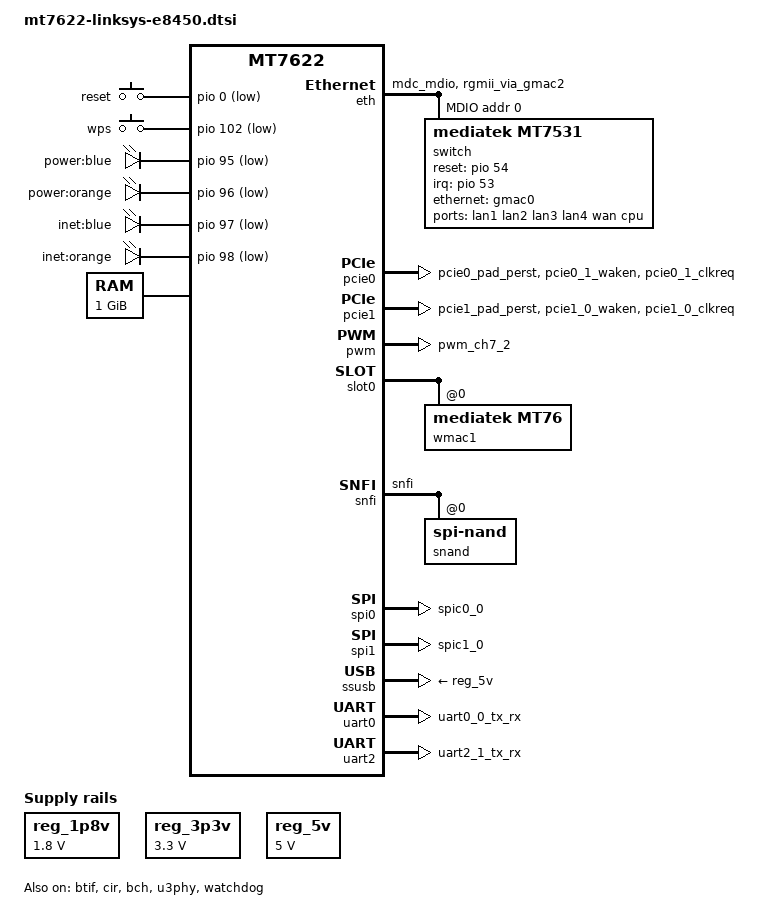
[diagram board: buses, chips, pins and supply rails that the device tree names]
// SPDX-License-Identifier: (GPL-2.0-only OR MIT)

/dts-v1/;
#include <dt-bindings/input/input.h>
#include <dt-bindings/gpio/gpio.h>

#include "mt7622.dtsi"
#include "mt6380.dtsi"

/ {
	compatible = "linksys,e8450", "mediatek,mt7622";

	aliases {
		serial0 = &uart0;
		led-boot = &led_power;
		led-failsafe = &led_power;
		led-running = &led_power;
		led-upgrade = &led_power;
	};

	chosen {
		stdout-path = "serial0:115200n8";
		bootargs = "earlycon=uart8250,mmio32,0x11002000 console=ttyS0,115200n1 swiotlb=512";
	};

	cpus {
		cpu@0 {
			proc-supply = <&mt6380_vcpu_reg>;
			sram-supply = <&mt6380_vm_reg>;
		};

		cpu@1 {
			proc-supply = <&mt6380_vcpu_reg>;
			sram-supply = <&mt6380_vm_reg>;
		};
	};

	gpio-keys {
		compatible = "gpio-keys";

		factory {
			label = "reset";
			linux,code = <KEY_RESTART>;
			gpios = <&pio 0 GPIO_ACTIVE_LOW>;
		};

		wps {
			label = "wps";
			linux,code = <KEY_WPS_BUTTON>;
			gpios = <&pio 102 GPIO_ACTIVE_LOW>;
		};
	};

	gpio-leds {
		compatible = "gpio-leds";

		led_power: power_blue {
			label = "power:blue";
			gpios = <&pio 95 GPIO_ACTIVE_LOW>;
			default-state = "on";
		};

		power_orange {
			label = "power:orange";
			gpios = <&pio 96 GPIO_ACTIVE_LOW>;
			default-state = "off";
		};

		inet_blue {
			label = "inet:blue";
			gpios = <&pio 97 GPIO_ACTIVE_LOW>;
			default-state = "off";
		};

		inet_orange {
			label = "inet:orange";
			gpios = <&pio 98 GPIO_ACTIVE_LOW>;
			default-state = "off";
		};
	};

	memory {
		reg = <0 0x40000000 0 0x40000000>;
	};

	reg_1p8v: regulator-1p8v {
		compatible = "regulator-fixed";
		regulator-name = "fixed-1.8V";
		regulator-min-microvolt = <1800000>;
		regulator-max-microvolt = <1800000>;
		regulator-always-on;
	};

	reg_3p3v: regulator-3p3v {
		compatible = "regulator-fixed";
		regulator-name = "fixed-3.3V";
		regulator-min-microvolt = <3300000>;
		regulator-max-microvolt = <3300000>;
		regulator-boot-on;
		regulator-always-on;
	};

	reg_5v: regulator-5v {
		compatible = "regulator-fixed";
		regulator-name = "fixed-5V";
		regulator-min-microvolt = <5000000>;
		regulator-max-microvolt = <5000000>;
		regulator-boot-on;
		regulator-always-on;
	};
};

&btif {
	status = "okay";
};

&cir {
	pinctrl-names = "default";
	pinctrl-0 = <&irrx_pins>;
	status = "okay";
};

&eth {
	pinctrl-names = "default";
	pinctrl-0 = <&eth_pins>;
	status = "okay";

	gmac0: mac@0 {
		compatible = "mediatek,eth-mac";
		reg = <0>;
		phy-mode = "2500base-x";

		fixed-link {
			speed = <2500>;
			full-duplex;
			pause;
		};
	};

	mdio-bus {
		#address-cells = <1>;
		#size-cells = <0>;

		switch@0 {
			compatible = "mediatek,mt7531";
			reg = <0>;
			interrupt-controller;
			#interrupt-cells = <1>;
			interrupt-parent = <&pio>;
			interrupts = <53 IRQ_TYPE_LEVEL_HIGH>;
			reset-gpios = <&pio 54 0>;

			ports {
				#address-cells = <1>;
				#size-cells = <0>;

				port@0 {
					reg = <0>;
					label = "lan1";
				};

				port@1 {
					reg = <1>;
					label = "lan2";
				};

				port@2 {
					reg = <2>;
					label = "lan3";
				};

				port@3 {
					reg = <3>;
					label = "lan4";
				};

				wan: port@4 {
					reg = <4>;
					label = "wan";
				};

				port@6 {
					reg = <6>;
					label = "cpu";
					ethernet = <&gmac0>;
					phy-mode = "2500base-x";

					fixed-link {
						speed = <2500>;
						full-duplex;
						pause;
					};
				};
			};
		};

	};
};

&pcie0 {
	pinctrl-names = "default";
	pinctrl-0 = <&pcie0_pins>;
	status = "okay";
};

&pcie1 {
	pinctrl-names = "default";
	pinctrl-0 = <&pcie1_pins>;
	status = "okay";
};

&pio {
	eth_pins: eth-pins {
		mux {
			function = "eth";
			groups = "mdc_mdio", "rgmii_via_gmac2";
		};
	};

	irrx_pins: irrx-pins {
		mux {
			function = "ir";
			groups =  "ir_1_rx";
		};
	};

	irtx_pins: irtx-pins {
		mux {
			function = "ir";
			groups =  "ir_1_tx";
		};
	};

	pcie0_pins: pcie0-pins {
		mux {
			function = "pcie";
			groups = "pcie0_pad_perst",
				 "pcie0_1_waken",
				 "pcie0_1_clkreq";
		};
	};

	pcie1_pins: pcie1-pins {
		mux {
			function = "pcie";
			groups = "pcie1_pad_perst",
				 "pcie1_0_waken",
				 "pcie1_0_clkreq";
		};
	};

	pmic_bus_pins: pmic-bus-pins {
		mux {
			function = "pmic";
			groups = "pmic_bus";
		};
	};

	pwm7_pins: pwm1-2-pins {
		mux {
			function = "pwm";
			groups = "pwm_ch7_2";
		};
	};

	wled_pins: wled-pins {
		mux {
			function = "led";
			groups = "wled";
		};
	};

	/* Serial NAND is shared pin with SPI-NOR */
	serial_nand_pins: serial-nand-pins {
		mux {
			function = "flash";
			groups = "snfi";
		};
	};

	spic0_pins: spic0-pins {
		mux {
			function = "spi";
			groups = "spic0_0";
		};
	};

	spic1_pins: spic1-pins {
		mux {
			function = "spi";
			groups = "spic1_0";
		};
	};

	uart0_pins: uart0-pins {
		mux {
			function = "uart";
			groups = "uart0_0_tx_rx" ;
		};
	};

	uart2_pins: uart2-pins {
		mux {
			function = "uart";
			groups = "uart2_1_tx_rx" ;
		};
	};

	watchdog_pins: watchdog-pins {
		mux {
			function = "watchdog";
			groups = "watchdog";
		};
	};
};

&pwm {
	pinctrl-names = "default";
	pinctrl-0 = <&pwm7_pins>;
	status = "okay";
};

&pwrap {
	pinctrl-names = "default";
	pinctrl-0 = <&pmic_bus_pins>;

	status = "okay";
};

&sata {
	status = "disabled";
};

&sata_phy {
	status = "disabled";
};

&slot0 {
	wmac1: wifi@0,0 {
		compatible = "mediatek,mt76";
		reg = <0x0000 0 0 0 0>;
		ieee80211-freq-limit = <5000000 6000000>;
		mediatek,disable-radar-background;
	};
};

&bch {
	status = "okay";
};

&snfi {
	pinctrl-names = "default";
	pinctrl-0 = <&serial_nand_pins>;
	status = "okay";

	snand: flash@0 {
		compatible = "spi-nand";
		reg = <0>;
		spi-tx-bus-width = <4>;
		spi-rx-bus-width = <4>;
		nand-ecc-engine = <&snfi>;
	};
};

&spi0 {
	pinctrl-names = "default";
	pinctrl-0 = <&spic0_pins>;
	status = "okay";
};

&spi1 {
	pinctrl-names = "default";
	pinctrl-0 = <&spic1_pins>;
	status = "okay";
};

&ssusb {
	vusb33-supply = <&reg_3p3v>;
	vbus-supply = <&reg_5v>;
	status = "okay";
};

&u3phy {
	status = "okay";
};

&uart0 {
	pinctrl-names = "default";
	pinctrl-0 = <&uart0_pins>;
	status = "okay";
};

&uart2 {
	pinctrl-names = "default";
	pinctrl-0 = <&uart2_pins>;
	status = "okay";
};

&rtc {
	status = "disabled";
};

&watchdog {
	pinctrl-names = "default";
	pinctrl-0 = <&watchdog_pins>;
	status = "okay";
};
